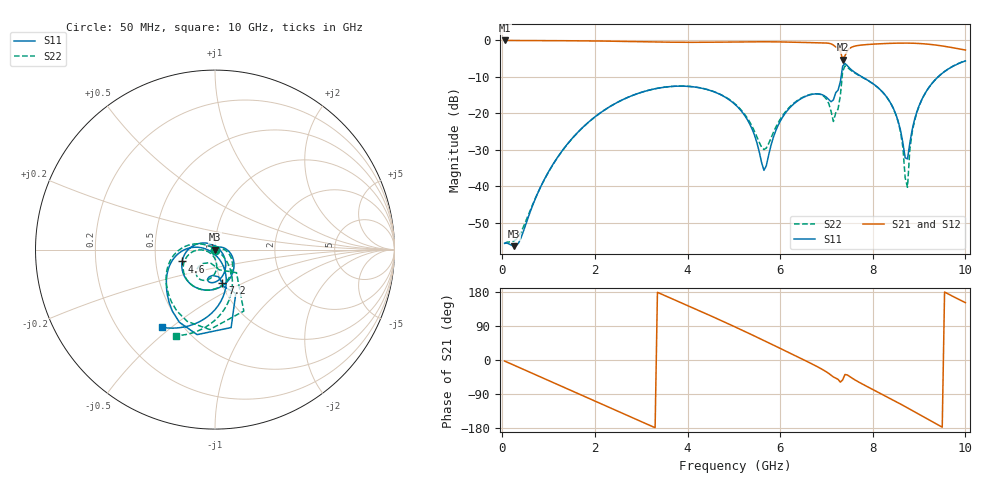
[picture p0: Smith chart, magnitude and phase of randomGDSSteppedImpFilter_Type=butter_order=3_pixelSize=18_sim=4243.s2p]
! freq	dB(S11)	phase(S11)	dB(S12)	phase(S12)
!  dB(S21)	phase(S21)	dB(S22)	phase(S22)
!S-par simulation data
#  GHz  S  DB  R 50
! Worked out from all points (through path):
!   200 points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, 50 MHz to 10 GHz, reference 50 ohm
!   highest |S21| = -0.02 dB at 50 MHz (marker M1); lowest = -5.3 dB at 7.35 GHz (marker M2)
!   group delay of S21, straight-line fit = 156 ps
!   lowest |S11| = -56.4 dB at 250 MHz (marker M3), VSWR 1.00, Z = 50.1 + j0.0309 ohm
!   |S11| at or under -10 dB: start of sweep to 7.316 GHz; 7.77 GHz to 9.411 GHz (1.641 GHz wide, 19.1 % of centre)
!   |S22| runs from -55.5 to -5.6 dB; largest |S21 - S12| = 0
!   S11 on the Smith chart (normalised r, x): 50 MHz: 1.00, -0.00; 4.6 GHz: 0.69, -0.09; 7.2 GHz: 1.01, -0.39; 10 GHz: 0.39, -0.47
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0.05  -55.61 -1.3  -0.02 -2.7  -0.02 -2.7  -55.55 -1.2
0.25  -56.37 11.7  -0.03 -13.5  -0.03 -13.5  -54.96 7.1
1  -35.95 44.2  -0.07 -54.0  -0.07 -54.0  -36.02 29.2
1.75  -23.68 0.6  -0.13 -94.6  -0.13 -94.6  -23.72 -8.0
2.65  -15.95 -51.0  -0.28 -143.6  -0.28 -143.6  -15.95 -55.4
3.4  -13.02 -92.8  -0.45 175.9  -0.45 175.9  -13.01 -94.2
4.6  -14.22 -160.1  -0.49 111.1  -0.49 111.1  -14.17 -154.0
5.05  -17.83 171.8  -0.42 86.0  -0.42 86.0  -17.67 -173.4
5.4  -24.46 142.9  -0.38 65.9  -0.38 65.9  -23.69 -177.6
5.65  -35.59 60.7  -0.37 51.3  -0.37 51.3  -29.91 -133.7
6.05  -21.08 -48.7  -0.43 27.8  -0.43 27.8  -20.65 -84.1
6.7  -14.74 -92.0  -0.62 -11.1  -0.62 -11.1  -14.69 -112.1
7.2  -14.32 -77.5  -1.79 -47.9  -1.79 -47.9  -19.86 -83.7
7.35  -7.06 -78.3  -5.29 -52.4  -5.29 -52.4  -8.45 -64.9
7.45  -6.92 -116.2  -2.84 -39.5  -2.84 -39.5  -7.35 -111.2
7.6  -8.67 -135.9  -1.61 -51.4  -1.61 -51.4  -8.84 -135.4
8.35  -16.43 177.4  -0.82 -99.9  -0.82 -99.9  -16.46 170.6
8.6  -24.69 174.4  -0.74 -116.3  -0.74 -116.3  -25.16 152.6
8.75  -32.47 -102.1  -0.74 -126.3  -0.74 -126.3  -40.25 -19.0
8.85  -24.50 -65.7  -0.77 -133.1  -0.77 -133.1  -25.21 -38.5
9.05  -16.43 -66.5  -0.89 -146.8  -0.89 -146.8  -16.53 -53.6
10  -5.62 -124.1  -2.64 151.4  -2.64 151.4  -5.56 -114.4
